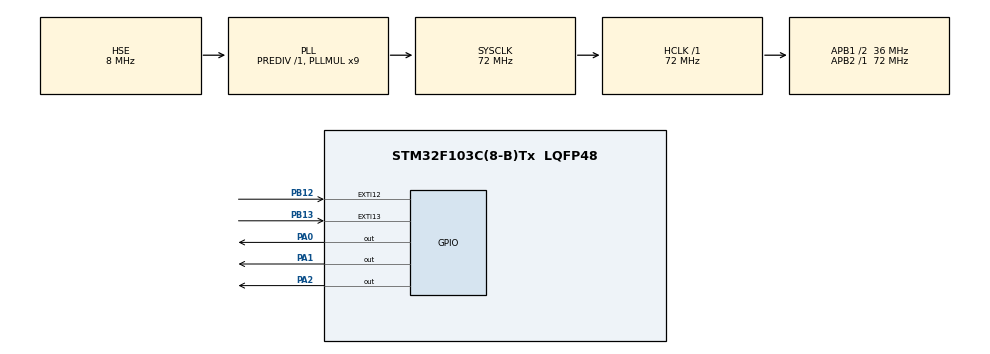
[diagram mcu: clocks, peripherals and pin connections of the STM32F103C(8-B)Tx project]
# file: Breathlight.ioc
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Mcu.Family=STM32F1
Mcu.Name=STM32F103C(8-B)Tx
Mcu.Package=LQFP48
NVIC.EXTI15_10_IRQn=true\:0\:0\:true\:false\:true\:true\:true\:true
NVIC.PriorityGroup=NVIC_PRIORITYGROUP_4
NVIC.TIM2_IRQn=true\:0\:0\:true\:false\:true\:true\:true\:true
PA0-WKUP.Signal=GPIO_Output
PA1.Signal=GPIO_Output
PA13.Mode=Serial_Wire
PA13.Signal=SYS_JTMS-SWDIO
PA14.Mode=Serial_Wire
PA14.Signal=SYS_JTCK-SWCLK
PA2.Signal=GPIO_Output
PB12.GPIO_PuPd=GPIO_PULLUP
PB12.Signal=GPXTI12
PB13.GPIO_PuPd=GPIO_PULLUP
PB13.Signal=GPXTI13
PD0-OSC_IN.Mode=HSE-External-Oscillator
PD0-OSC_IN.Signal=RCC_OSC_IN
PD1-OSC_OUT.Mode=HSE-External-Oscillator
PD1-OSC_OUT.Signal=RCC_OSC_OUT
ProjectManager.HeapSize=0x200
ProjectManager.StackSize=0x400
ProjectManager.TargetToolchain=MDK-ARM V5.32
RCC.AHBFreq_Value=72000000
RCC.APB1CLKDivider=RCC_HCLK_DIV2
RCC.APB1Freq_Value=36000000
RCC.APB1TimFreq_Value=72000000
RCC.APB2Freq_Value=72000000
RCC.APB2TimFreq_Value=72000000
RCC.HCLKFreq_Value=72000000
RCC.PLLMUL=RCC_PLL_MUL9
RCC.PLLSourceVirtual=RCC_PLLSOURCE_HSE
RCC.SYSCLKFreq_VALUE=72000000
RCC.SYSCLKSource=RCC_SYSCLKSOURCE_PLLCLK
RCC.USBFreq_Value=72000000
TIM2.Period=10
TIM2.Prescaler=72-1
VP_TIM2_VS_ClockSourceINT.Mode=Internal
board=custom

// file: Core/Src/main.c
/* USER CODE BEGIN Header */
/**
  ******************************************************************************
  * @file           : main.c
  * @brief          : Main program body
  ******************************************************************************
  * @attention
  *
  * Copyright (c) 2026 STMicroelectronics.
  * All rights reserved.
  *
  * This software is licensed under terms that can be found in the LICENSE file
  * in the root directory of this software component.
  * If no LICENSE file comes with this software, it is provided AS-IS.
  *
  ******************************************************************************
  */
/* USER CODE END Header */
#include "main.h"

/* USER CODE BEGIN PD */

#define PWM_STEPS          100U   /* 一个软件PWM周期次数计数*/
#define COLOR_COUNT        7U     /* 红,绿,蓝,黄,青，品红，白�*/
#define SPEED_COUNT        3U     /* 呼吸速度 */
#define KEY_DEBOUNCE_MS    30U    /* 案件软件去抖时间 */

#define RGB_R_PIN          GPIO_PIN_0
#define RGB_G_PIN          GPIO_PIN_1
#define RGB_B_PIN          GPIO_PIN_2
#define RGB_PORT           GPIOA

/* USER CODE END PD */

TIM_HandleTypeDef htim2;

/* USER CODE BEGIN PV */

volatile uint8_t  g_pwm_counter = 0U;          /* 0 ~ PWM_STEPS-1 */
volatile uint8_t  g_pwm_duty[3] = {0U, 0U, 0U};/* R/G/B 当前占空比  */
volatile int16_t  g_breath_level = 0;          /* ???? 0 ~ 100 */
volatile int8_t   g_breath_dir = 1;            /* 1 ??,-1 ?? */

volatile uint8_t  g_color_index = 0U;          /* ?????? */
volatile uint8_t  g_speed_index = 0U;          /* ?????? */
volatile uint16_t g_speed_frames = 8U;         /* ?????????? */
volatile uint16_t g_frame_counter = 0U
;

static const uint8_t
 g_color_masks[COLOR_COUNT] = {
    0x01U,  /* R */
    0x02U,  /* G */
    0x04U,  /* B */
    0x03U,  /* R+G:? */
    0x06U,  /* G+B:? */
    0x05U,  /* R+B:?? */
    0x07U   /* R+G+B:? */
};

static const uint16_t
 g_speed_frames_table[SPEED_COUNT] = {
    8U,     /* ? 1.6 s ?????-?-? */
    16U,    /* ? 3.2 s */
    32U     /* ? 6.4 s */
};

/* USER CODE END PV */

void SystemClock_Config(void);
static void MX_GPIO_Init(void);
static void MX_TIM2_Init(void);
/* USER CODE BEGIN PFP */

static void RGB_ApplyLevel(uint8_t level);

/* USER CODE END PFP */

int main(void)
{

  /* MCU Configuration--------------------------------------------------------*/

  /* Reset of all peripherals, Initializes the Flash interface and the Systick. */
  HAL_Init();

  /* Configure the system clock */
  SystemClock_Config();

  /* Initialize all configured peripherals */
  MX_GPIO_Init();
  MX_TIM2_Init();
  /* USER CODE BEGIN 2 */

HAL_TIM_Base_Start_IT(&htim2);

  /* USER CODE END 2 */

  /* Infinite loop */
  while (1)
  {

  }
}

void SystemClock_Config(void)
{
  RCC_OscInitTypeDef RCC_OscInitStruct = {0};
  RCC_ClkInitTypeDef RCC_ClkInitStruct = {0};

  /** Initializes the RCC Oscillators according to the specified parameters
  * in the RCC_OscInitTypeDef structure.
  */
  RCC_OscInitStruct.OscillatorType = RCC_OSCILLATORTYPE_HSE;
  RCC_OscInitStruct.HSEState = RCC_HSE_ON;
  RCC_OscInitStruct.HSEPredivValue = RCC_HSE_PREDIV_DIV1;
  RCC_OscInitStruct.HSIState = RCC_HSI_ON;
  RCC_OscInitStruct.PLL.PLLState = RCC_PLL_ON;
  RCC_OscInitStruct.PLL.PLLSource = RCC_PLLSOURCE_HSE;
  RCC_OscInitStruct.PLL.PLLMUL = RCC_PLL_MUL9;
  if (HAL_RCC_OscConfig(&RCC_OscInitStruct) != HAL_OK)
  {
    Error_Handler();
  }

  /** Initializes the CPU, AHB and APB buses clocks
  */
  RCC_ClkInitStruct.ClockType = RCC_CLOCKTYPE_HCLK|RCC_CLOCKTYPE_SYSCLK
                              |RCC_CLOCKTYPE_PCLK1|RCC_CLOCKTYPE_PCLK2;
  RCC_ClkInitStruct.SYSCLKSource = RCC_SYSCLKSOURCE_PLLCLK;
  RCC_ClkInitStruct.AHBCLKDivider = RCC_SYSCLK_DIV1;
  RCC_ClkInitStruct.APB1CLKDivider = RCC_HCLK_DIV2;
  RCC_ClkInitStruct.APB2CLKDivider = RCC_HCLK_DIV1;

  if (HAL_RCC_ClockConfig(&RCC_ClkInitStruct, FLASH_LATENCY_2) != HAL_OK)
  {
    Error_Handler();
  }
}

static void MX_TIM2_Init(void)
{

  TIM_ClockConfigTypeDef sClockSourceConfig = {0};
  TIM_MasterConfigTypeDef sMasterConfig = {0};

  htim2.Instance = TIM2;
  htim2.Init.Prescaler = 72-1;
  htim2.Init.CounterMode = TIM_COUNTERMODE_UP;
  htim2.Init.Period = 10;
  htim2.Init.ClockDivision = TIM_CLOCKDIVISION_DIV1;
  htim2.Init.AutoReloadPreload = TIM_AUTORELOAD_PRELOAD_DISABLE;
  if (HAL_TIM_Base_Init(&htim2) != HAL_OK)
  {
    Error_Handler();
  }
  sClockSourceConfig.ClockSource = TIM_CLOCKSOURCE_INTERNAL;
  if (HAL_TIM_ConfigClockSource(&htim2, &sClockSourceConfig) != HAL_OK)
  {
    Error_Handler();
  }
  sMasterConfig.MasterOutputTrigger = TIM_TRGO_RESET;
  sMasterConfig.MasterSlaveMode = TIM_MASTERSLAVEMODE_DISABLE;
  if (HAL_TIMEx_MasterConfigSynchronization(&htim2, &sMasterConfig) != HAL_OK)
  {
    Error_Handler();
  }

}

static void MX_GPIO_Init(void)
{
  GPIO_InitTypeDef GPIO_InitStruct = {0};

  /* GPIO Ports Clock Enable */
  __HAL_RCC_GPIOD_CLK_ENABLE();
  __HAL_RCC_GPIOA_CLK_ENABLE();
  __HAL_RCC_GPIOB_CLK_ENABLE();

  /*Configure GPIO pin Output Level */
  HAL_GPIO_WritePin(GPIOA, GPIO_PIN_0|GPIO_PIN_1|GPIO_PIN_2, GPIO_PIN_RESET);

  /*Configure GPIO pins : PA0 PA1 PA2 */
  GPIO_InitStruct.Pin = GPIO_PIN_0|GPIO_PIN_1|GPIO_PIN_2;
  GPIO_InitStruct.Mode = GPIO_MODE_OUTPUT_PP;
  GPIO_InitStruct.Pull = GPIO_NOPULL;
  GPIO_InitStruct.Speed = GPIO_SPEED_FREQ_LOW;
  HAL_GPIO_Init(GPIOA, &GPIO_InitStruct);

  /*Configure GPIO pins : PB12 PB13 */
  GPIO_InitStruct.Pin = GPIO_PIN_12|GPIO_PIN_13;
  GPIO_InitStruct.Mode = GPIO_MODE_IT_RISING;
  GPIO_InitStruct.Pull = GPIO_PULLUP;
  HAL_GPIO_Init(GPIOB, &GPIO_InitStruct);

  /* EXTI interrupt init*/
  HAL_NVIC_SetPriority(EXTI15_10_IRQn, 0, 0);
  HAL_NVIC_EnableIRQ(EXTI15_10_IRQn);

}

/* USER CODE BEGIN 4 */

/* ?????????,?????????? */
static void RGB_ApplyLevel(uint8_t level)
{
    uint8_t mask = g_color_masks[g_color_index];

    g_pwm_duty[0] = (mask & 0x01U) ? level : 0U;  /* R */
    g_pwm_duty[1] = (mask & 0x02U) ? level : 0U;  /* G */
    g_pwm_duty[2] = (mask & 0x04U) ? level : 0U;  /* B */
}

/* TIM2 ??????:? 10 us ???? */
void HAL_TIM_PeriodElapsedCallback(TIM_HandleTypeDef *htim)
{
    if (htim->Instance != TIM2)
    {
        return;
    }

    g_pwm_counter++;

    /* 100 ? 10 us ?????? 1 ms ??? PWM ?? */
    if (g_pwm_counter >= PWM_STEPS)
    {
        g_pwm_counter = 0U;
        g_frame_counter++;

        /* ????? PWM ???????,?????? */
        if (g_frame_counter >= g_speed_frames)
        {
            g_frame_counter = 0U;

            g_breath_level += g_breath_dir;

            if (g_breath_level >= (int16_t)PWM_STEPS)
            {
                g_breath_level = (int16_t)PWM_STEPS;
                g_breath_dir = -1;
            }
            else if (g_breath_level <= 0)
            {
                g_breath_level = 0;
                g_breath_dir = 1;
            }

            RGB_ApplyLevel((uint8_t)g_breath_level);
        }
    }

    /*
     * ?? RGB ????????? + 1 kO ??? +5 V:
     * GPIO_PIN_SET   -> ??,??????????,LED ?;
     * GPIO_PIN_RESET -> ??,?????,LED ??
     *
     * ??????揚A8 -> ?? -> LED -> 3.3 V??????�?
     * ???????,???????????
     */
    HAL_GPIO_WritePin(RGB_PORT, RGB_R_PIN,
        (g_pwm_counter < g_pwm_duty[0]) ? GPIO_PIN_SET : GPIO_PIN_RESET);

    HAL_GPIO_WritePin(RGB_PORT, RGB_G_PIN,
        (g_pwm_counter < g_pwm_duty[1]) ? GPIO_PIN_SET : GPIO_PIN_RESET);

    HAL_GPIO_WritePin(RGB_PORT, RGB_B_PIN,
        (g_pwm_counter < g_pwm_duty[2]) ? GPIO_PIN_SET : GPIO_PIN_RESET);
}

/* PB12?PB13 ?????? */
void HAL_GPIO_EXTI_Callback(uint16_t GPIO_Pin)
{
    static uint32_t last_speed_tick = 0U;
    static uint32_t last_color_tick = 0U;
    uint32_t now = HAL_GetTick();

    if (GPIO_Pin == GPIO_PIN_12)
    {
        if ((now - last_speed_tick) >= KEY_DEBOUNCE_MS)
        {
            last_speed_tick = now;

            /* ??????:8 -> 16 -> 32 -> 8 */
            g_speed_index = (uint8_t)((g_speed_index + 1U) % SPEED_COUNT);
            g_speed_frames = g_speed_frames_table[g_speed_index];
        }
    }
    else if (GPIO_Pin == GPIO_PIN_13)
    {
        if ((now - last_color_tick) >= KEY_DEBOUNCE_MS)
        {
            last_color_tick = now;

            /* ?????? */
            g_color_index = (uint8_t)((g_color_index + 1U) % COLOR_COUNT);
        }
    }
}

/* USER CODE END 4 */

void Error_Handler(void)
{
  __disable_irq();
  while (1)
  {
  }
}
